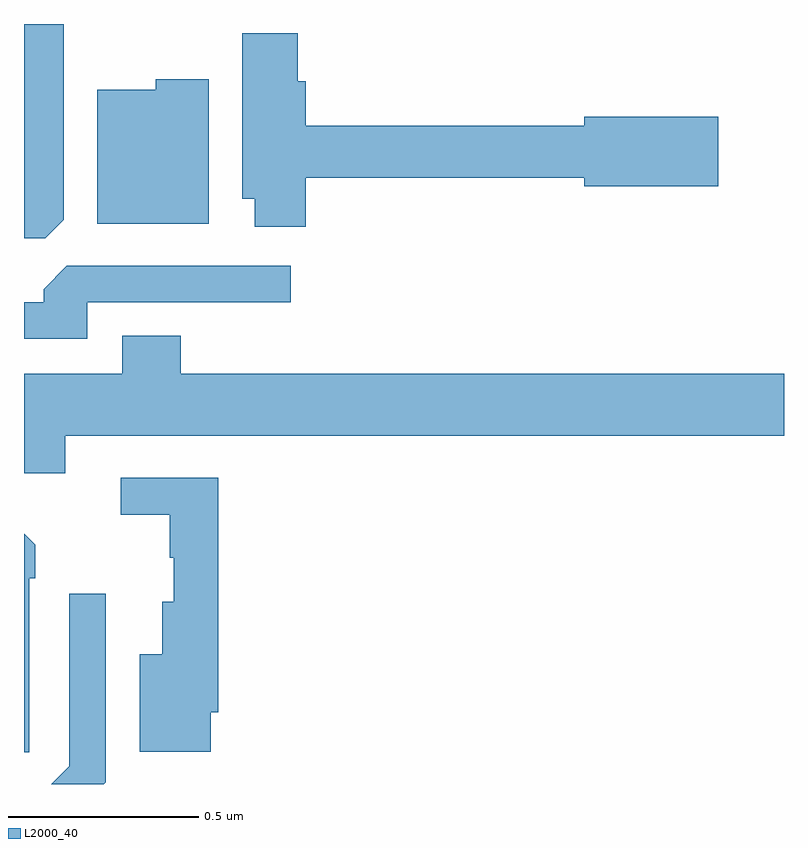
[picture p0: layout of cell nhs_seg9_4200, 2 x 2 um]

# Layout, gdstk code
import gdstk
lib = gdstk.Library(unit=1e-6, precision=1e-09)
def P(c, l, *ps):  # polygons
    for p in ps: c.add(gdstk.Polygon(p, *l))
L2000_40 = (2000, 40)

nhs_seg9_4200 = lib.new_cell('nhs_seg9_4200')
P(nhs_seg9_4200, L2000_40, [(163.105,1200.985),(163.105,1201.5),(163,1201.5),(163,1200.936),(163.056,1200.936)],
  [(163.742,1201.096),(164.474,1201.096),(164.474,1201.073),(164.827,1201.073),(164.827,1201.256),(164.474,1201.256),(164.474,1201.232),(163.742,1201.232),(163.742,1201.35),(163.721,1201.35),(163.721,1201.476),(163.574,1201.476),(163.574,1201.04),(163.607,1201.04),(163.607,1200.966),(163.742,1200.966)],
  [(163.486,1201.354),(163.347,1201.354),(163.347,1201.327),(163.193,1201.327),(163.193,1200.974),(163.486,1200.974)],
  [(163.167,1200.768),(163.702,1200.768),(163.702,1200.864),(163.113,1200.864),(163.052,1200.802),(163.052,1200.768),(163,1200.768),(163,1200.672),(163.167,1200.672)],
  [(163.108,1200.416),(165,1200.416),(165,1200.58),(163.412,1200.58),(163.412,1200.679),(163.259,1200.679),(163.259,1200.58),(163,1200.58),(163,1200.318),(163.108,1200.318)],
  [(163.492,1199.689),(163.511,1199.689),(163.511,1200.306),(163.254,1200.306),(163.254,1200.208),(163.383,1200.208),(163.383,1200.095),(163.394,1200.095),(163.394,1199.98),(163.364,1199.98),(163.364,1199.842),(163.304,1199.842),(163.304,1199.585),(163.492,1199.585)],
  [(163.014,1200.041),(163.029,1200.041),(163.029,1200.129),(163,1200.158),(163,1199.583),(163.014,1199.583)],
  [(163.215,1199.505),(163.215,1200.001),(163.119,1200.001),(163.119,1199.547),(163.072,1199.5),(163.21,1199.5)])

lib.write_gds('nhs_seg9_4200.gds')
